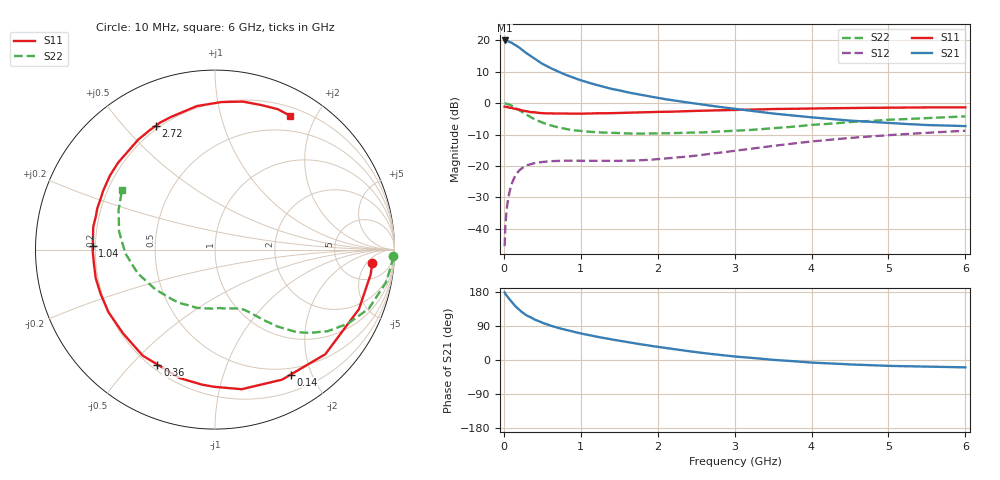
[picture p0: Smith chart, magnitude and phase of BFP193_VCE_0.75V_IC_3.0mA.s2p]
! Infineon Technologies  Discrete & RF Semiconductors
! BFP193
! VCE = 0.75V,  IC =  3.0 mA
! Common Emitter S-Parameters:  Jan 2016
# GHz  S  MA  R  50
!  f  S11  S21  S12  S22
! GHz  MAG  ANG  MAG  ANG  MAG  ANG  MAG  ANG
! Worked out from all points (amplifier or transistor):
!   210 points, 10 MHz to 6 GHz, reference 50 ohm
!   highest |S21| = 19.9 dB at 10 MHz (marker M1)
!   |S21| within 3 dB of that: start of sweep to 236.8 MHz
!   unconditionally stable (mu >= 1): 1.397 GHz to 4.227 GHz; 5.755 GHz to end of sweep
!   at 185 MHz: K = 0.16, MSG = 19.9 dB, |S12| = -21.9 dB
!   at 1.52 GHz: K = 1.06, MAG = 9.6 dB, |S12| = -18.4 dB
!   at 6 GHz: K = 1.01, MAG = 0.2 dB, |S12| = -8.8 dB
!   S11 on the Smith chart (normalised r, x): 10 MHz: 11, -7; 140 MHz: 0.41, -1.70; 360 MHz: 0.23, -0.59; 1.04 GHz: 0.19, +0.02; 2.72 GHz: 0.19, +0.62; 6 GHz: 0.30, +1.67
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0.01  0.8791 -4.8  9.925 178.3  0.0053 85.9  0.9908 -2.2
0.02  0.8785 -9.0  9.811 174.2  0.011 83.7  0.9883 -4.3
0.05  0.8678 -22.5  9.689 166.3  0.0269 77.6  0.9701 -10.9
0.1  0.8469 -43.5  9.165 153.8  0.0511 67.0  0.9179 -21.0
0.14  0.8141 -58.8  8.521 144.1  0.0667 58.7  0.8597 -27.5
0.15  0.8153 -62.7  8.402 141.5  0.0707 57.2  0.847 -29.2
0.2  0.7919 -79.2  7.653 132.3  0.0849 49.7  0.7753 -35.9
0.28  0.7463 -100.5  6.413 120.0  0.0996 40.4  0.6711 -43.5
0.36  0.7163 -116.6  5.488 111.4  0.1076 34.1  0.5903 -48.4
0.4  0.7149 -124.3  5.078 106.7  0.1112 31.3  0.5522 -50.9
0.5  0.6931 -137.6  4.222 98.2  0.1159 26.4  0.4886 -54.6
0.6  0.6885 -149.6  3.642 91.0  0.1191 23.0  0.4452 -57.4
0.8  0.6834 -166.5  2.835 79.6  0.1215 19.3  0.3889 -62.2
1.02  0.6811 179.4  2.269 69.3  0.1212 17.6  0.358 -67.1
1.04  0.681 178.2  2.23 68.5  0.1211 17.6  0.3562 -67.6
1.4  0.6948 160.8  1.684 54.4  0.1204 18.4  0.3377 -76.7
2.02  0.7255 137.3  1.197 34.1  0.1291 26.1  0.3292 -94.8
2.72  0.7648 115.5  0.899 15.5  0.1578 32.7  0.3486 -118.9
3.1  0.7817 106.1  0.786 7.7  0.1813 33.4  0.3681 -132.7
4.1  0.8249 85.8  0.58 -7.7  0.252 27.8  0.4576 -166.1
5.1  0.8471 70.9  0.475 -15.9  0.3152 16.7  0.5491 166.9
6  0.855 60.6  0.431 -19.4  0.3631 5.9  0.6156 147.3
